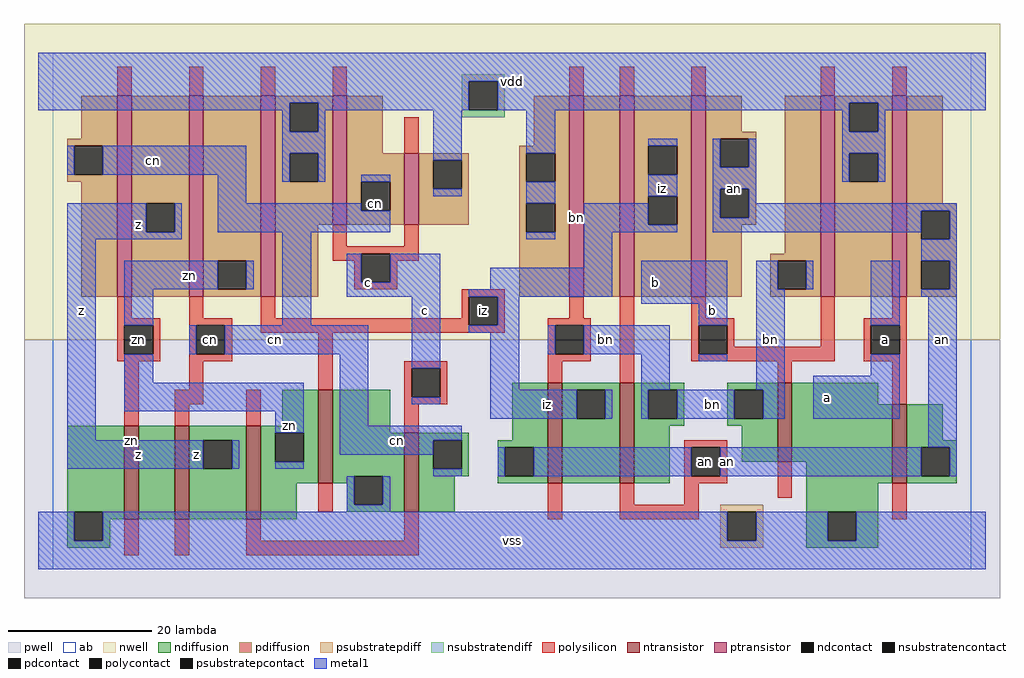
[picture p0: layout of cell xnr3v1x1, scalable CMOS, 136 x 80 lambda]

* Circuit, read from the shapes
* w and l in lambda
.subckt xnr3v1x1 a an b bn c cn iz vdd vss z zn
M1 n1 zn vss vss nfet w=13 l=2
M2 z cn n1 vss nfet w=13 l=2
M3 zn c z vss nfet w=13 l=2
M4 vss iz zn vss nfet w=13 l=2
M5 cn c vss vss nfet w=11 l=2
M6 iz bn an vss nfet w=14 l=2
M7 bn an iz vss nfet w=14 l=2
M8 vss b bn vss nfet w=11 l=2
M9 an a vss vss nfet w=11 l=2
M10 z zn cn vdd pfet w=28 l=2
M11 zn cn z vdd pfet w=28 l=2
M12 vdd iz zn vdd pfet w=28 l=2
M13 cn c vdd vdd pfet w=18 l=2
M14 vdd c cn vdd pfet w=10 l=2
M15 n2 bn vdd vdd pfet w=28 l=2
M16 iz an n2 vdd pfet w=28 l=2
M17 an b iz vdd pfet w=28 l=2
M18 vdd b bn vdd pfet w=28 l=2
M19 an a vdd vdd pfet w=28 l=2
.ends

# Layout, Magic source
magic
tech scmos
<< ab >>
rect 0 0 128 72
<< pwell >>
rect -4 -4 132 32
<< nwell >>
rect -4 32 132 76
<< polysilicon >>
rect 9 66 11 70
rect 19 66 21 70
rect 29 66 31 70
rect 39 66 41 70
rect 72 66 74 70
rect 79 66 81 70
rect 89 66 91 70
rect 107 66 109 70
rect 117 66 119 70
rect 49 58 51 63
rect 39 45 41 48
rect 49 45 51 48
rect 39 44 51 45
rect 39 43 43 44
rect 42 40 43 43
rect 47 43 51 44
rect 47 40 48 43
rect 42 39 48 40
rect 57 38 63 39
rect 9 35 11 38
rect 19 35 21 38
rect 29 35 31 38
rect 57 35 58 38
rect 9 34 15 35
rect 9 30 10 34
rect 14 30 15 34
rect 9 29 15 30
rect 19 34 25 35
rect 19 30 20 34
rect 24 30 25 34
rect 29 34 58 35
rect 62 34 63 38
rect 72 35 74 38
rect 29 33 63 34
rect 69 34 75 35
rect 19 29 25 30
rect 10 20 12 29
rect 19 25 21 29
rect 37 25 39 33
rect 69 30 70 34
rect 74 30 75 34
rect 69 29 75 30
rect 49 28 55 29
rect 17 23 21 25
rect 17 20 19 23
rect 27 20 29 25
rect 49 24 50 28
rect 54 24 55 28
rect 69 26 71 29
rect 79 26 81 38
rect 89 35 91 38
rect 89 34 95 35
rect 89 30 90 34
rect 94 31 95 34
rect 107 31 109 38
rect 117 35 119 38
rect 94 30 109 31
rect 89 29 109 30
rect 113 34 119 35
rect 113 30 114 34
rect 118 30 119 34
rect 113 29 119 30
rect 101 26 103 29
rect 49 23 55 24
rect 49 19 51 23
rect 37 8 39 12
rect 88 17 94 18
rect 88 13 89 17
rect 93 13 94 17
rect 117 23 119 29
rect 88 12 94 13
rect 10 2 12 7
rect 17 2 19 7
rect 27 4 29 7
rect 49 4 51 8
rect 69 7 71 12
rect 79 9 81 12
rect 88 9 90 12
rect 101 10 103 15
rect 79 7 90 9
rect 27 2 51 4
rect 117 7 119 12
<< ndiffusion >>
rect 32 20 37 25
rect 2 8 10 20
rect 2 4 3 8
rect 7 7 10 8
rect 12 7 17 20
rect 19 18 27 20
rect 19 14 21 18
rect 25 14 27 18
rect 19 7 27 14
rect 29 19 37 20
rect 29 15 31 19
rect 35 15 37 19
rect 29 12 37 15
rect 39 19 47 25
rect 39 13 49 19
rect 39 12 42 13
rect 29 7 34 12
rect 41 9 42 12
rect 46 9 49 13
rect 41 8 49 9
rect 51 18 58 19
rect 64 18 69 26
rect 51 14 53 18
rect 57 14 58 18
rect 51 13 58 14
rect 62 17 69 18
rect 62 13 63 17
rect 67 13 69 17
rect 51 8 56 13
rect 62 12 69 13
rect 71 25 79 26
rect 71 21 73 25
rect 77 21 79 25
rect 71 12 79 21
rect 81 25 88 26
rect 81 21 83 25
rect 87 21 88 25
rect 81 20 88 21
rect 94 25 101 26
rect 94 21 95 25
rect 99 21 101 25
rect 94 20 101 21
rect 81 12 86 20
rect 96 15 101 20
rect 103 23 115 26
rect 103 15 117 23
rect 7 4 8 7
rect 2 3 8 4
rect 105 12 117 15
rect 119 18 124 23
rect 119 17 126 18
rect 119 13 121 17
rect 125 13 126 17
rect 119 12 126 13
rect 105 8 115 12
rect 105 4 108 8
rect 112 4 115 8
rect 105 3 115 4
<< pdiffusion >>
rect 4 60 9 66
rect 2 59 9 60
rect 2 55 3 59
rect 7 55 9 59
rect 2 54 9 55
rect 4 38 9 54
rect 11 51 19 66
rect 11 47 13 51
rect 17 47 19 51
rect 11 38 19 47
rect 21 43 29 66
rect 21 39 23 43
rect 27 39 29 43
rect 21 38 29 39
rect 31 65 39 66
rect 31 61 33 65
rect 37 61 39 65
rect 31 58 39 61
rect 31 54 33 58
rect 37 54 39 58
rect 31 48 39 54
rect 41 58 46 66
rect 67 59 72 66
rect 65 58 72 59
rect 41 54 49 58
rect 41 50 43 54
rect 47 50 49 54
rect 41 48 49 50
rect 51 57 58 58
rect 51 53 53 57
rect 57 53 58 57
rect 51 48 58 53
rect 65 54 66 58
rect 70 54 72 58
rect 65 51 72 54
rect 31 38 37 48
rect 65 47 66 51
rect 70 47 72 51
rect 65 38 72 47
rect 74 38 79 66
rect 81 59 89 66
rect 81 55 83 59
rect 87 55 89 59
rect 81 52 89 55
rect 81 48 83 52
rect 87 48 89 52
rect 81 38 89 48
rect 91 61 96 66
rect 91 60 98 61
rect 91 56 93 60
rect 97 56 98 60
rect 91 53 98 56
rect 91 49 93 53
rect 97 49 98 53
rect 91 48 98 49
rect 91 38 96 48
rect 102 44 107 66
rect 100 43 107 44
rect 100 39 101 43
rect 105 39 107 43
rect 100 38 107 39
rect 109 65 117 66
rect 109 61 111 65
rect 115 61 117 65
rect 109 58 117 61
rect 109 54 111 58
rect 115 54 117 58
rect 109 38 117 54
rect 119 51 124 66
rect 119 50 126 51
rect 119 46 121 50
rect 125 46 126 50
rect 119 43 126 46
rect 119 39 121 43
rect 125 39 126 43
rect 119 38 126 39
<< metal1 >>
rect -2 68 130 72
rect -2 65 58 68
rect -2 64 33 65
rect 32 61 33 64
rect 37 64 58 65
rect 62 65 130 68
rect 62 64 111 65
rect 37 61 38 64
rect 2 55 3 59
rect 7 55 27 59
rect 23 51 27 55
rect 32 58 38 61
rect 32 54 33 58
rect 37 54 38 58
rect 53 57 57 64
rect 43 54 47 55
rect 2 47 13 51
rect 17 47 18 51
rect 23 50 43 51
rect 53 52 57 53
rect 66 58 70 64
rect 110 61 111 64
rect 115 64 130 65
rect 115 61 116 64
rect 23 47 47 50
rect 66 51 70 54
rect 83 59 87 60
rect 83 52 87 55
rect 2 46 18 47
rect 2 18 6 46
rect 10 39 23 43
rect 27 39 28 43
rect 10 34 14 39
rect 32 34 36 47
rect 66 46 70 47
rect 74 48 83 51
rect 74 47 87 48
rect 92 56 93 60
rect 97 56 98 60
rect 92 53 98 56
rect 110 58 116 61
rect 110 54 111 58
rect 115 54 116 58
rect 92 49 93 53
rect 97 51 98 53
rect 97 50 126 51
rect 97 49 121 50
rect 92 47 121 49
rect 41 40 43 44
rect 47 40 54 44
rect 74 42 78 47
rect 125 46 126 50
rect 121 43 126 46
rect 41 38 54 40
rect 61 39 78 42
rect 19 30 20 34
rect 24 30 44 34
rect 10 26 14 30
rect 10 22 35 26
rect 31 19 35 22
rect 2 14 21 18
rect 25 14 26 18
rect 40 20 44 30
rect 50 28 54 38
rect 58 38 78 39
rect 62 34 65 38
rect 82 37 94 43
rect 90 34 94 37
rect 58 33 65 34
rect 50 23 54 24
rect 61 25 65 33
rect 69 30 70 34
rect 74 30 86 34
rect 82 25 86 30
rect 90 29 94 30
rect 98 39 101 43
rect 105 39 106 43
rect 98 25 102 39
rect 114 34 118 43
rect 125 39 126 43
rect 121 38 126 39
rect 114 27 118 30
rect 61 21 73 25
rect 77 21 78 25
rect 82 21 83 25
rect 87 21 95 25
rect 99 21 102 25
rect 106 21 118 27
rect 40 18 57 20
rect 40 16 53 18
rect 31 14 35 15
rect 122 17 126 38
rect 53 13 57 14
rect 62 13 63 17
rect 67 13 89 17
rect 93 13 121 17
rect 125 13 126 17
rect 41 9 42 13
rect 46 9 47 13
rect 41 8 47 9
rect -2 4 3 8
rect 7 4 94 8
rect 98 4 108 8
rect 112 4 130 8
rect -2 0 130 4
<< ntransistor >>
rect 10 7 12 20
rect 17 7 19 20
rect 27 7 29 20
rect 37 12 39 25
rect 49 8 51 19
rect 69 12 71 26
rect 79 12 81 26
rect 101 15 103 26
rect 117 12 119 23
<< ptransistor >>
rect 9 38 11 66
rect 19 38 21 66
rect 29 38 31 66
rect 39 48 41 66
rect 49 48 51 58
rect 72 38 74 66
rect 79 38 81 66
rect 89 38 91 66
rect 107 38 109 66
rect 117 38 119 66
<< polycontact >>
rect 43 40 47 44
rect 10 30 14 34
rect 20 30 24 34
rect 58 34 62 38
rect 70 30 74 34
rect 50 24 54 28
rect 90 30 94 34
rect 114 30 118 34
rect 89 13 93 17
<< ndcontact >>
rect 3 4 7 8
rect 21 14 25 18
rect 31 15 35 19
rect 42 9 46 13
rect 53 14 57 18
rect 63 13 67 17
rect 73 21 77 25
rect 83 21 87 25
rect 95 21 99 25
rect 121 13 125 17
rect 108 4 112 8
<< pdcontact >>
rect 3 55 7 59
rect 13 47 17 51
rect 23 39 27 43
rect 33 61 37 65
rect 33 54 37 58
rect 43 50 47 54
rect 53 53 57 57
rect 66 54 70 58
rect 66 47 70 51
rect 83 55 87 59
rect 83 48 87 52
rect 93 56 97 60
rect 93 49 97 53
rect 101 39 105 43
rect 111 61 115 65
rect 111 54 115 58
rect 121 46 125 50
rect 121 39 125 43
<< psubstratepcontact >>
rect 94 4 98 8
<< nsubstratencontact >>
rect 58 64 62 68
<< psubstratepdiff >>
rect 93 8 99 9
rect 93 4 94 8
rect 98 4 99 8
rect 93 3 99 4
<< nsubstratendiff >>
rect 57 68 63 69
rect 57 64 58 68
rect 62 64 63 68
rect 57 63 63 64
<< labels >>
rlabel ntransistor 11 18 11 18 6 zn
rlabel polycontact 22 32 22 32 6 cn
rlabel polycontact 60 36 60 36 6 iz
rlabel ptransistor 73 49 73 49 6 bn
rlabel polycontact 91 15 91 15 6 an
rlabel metal1 12 16 12 16 6 z
rlabel metal1 20 16 20 16 6 z
rlabel metal1 4 36 4 36 6 z
rlabel polycontact 12 32 12 32 6 zn
rlabel metal1 12 48 12 48 6 z
rlabel metal1 33 20 33 20 6 zn
rlabel metal1 31 32 31 32 6 cn
rlabel metal1 44 40 44 40 6 c
rlabel metal1 19 41 19 41 6 zn
rlabel pdcontact 45 51 45 51 6 cn
rlabel metal1 14 57 14 57 6 cn
rlabel metal1 64 4 64 4 6 vss
rlabel metal1 48 18 48 18 6 cn
rlabel metal1 52 36 52 36 6 c
rlabel polycontact 61 36 61 36 6 iz
rlabel metal1 64 68 64 68 6 vdd
rlabel metal1 69 23 69 23 6 iz
rlabel metal1 92 23 92 23 6 bn
rlabel metal1 77 32 77 32 6 bn
rlabel metal1 92 36 92 36 6 b
rlabel metal1 84 40 84 40 6 b
rlabel metal1 100 32 100 32 6 bn
rlabel metal1 85 53 85 53 6 iz
rlabel metal1 95 53 95 53 6 an
rlabel metal1 94 15 94 15 6 an
rlabel metal1 108 24 108 24 6 a
rlabel polycontact 116 32 116 32 6 a
rlabel metal1 124 32 124 32 6 an
<< end >>
